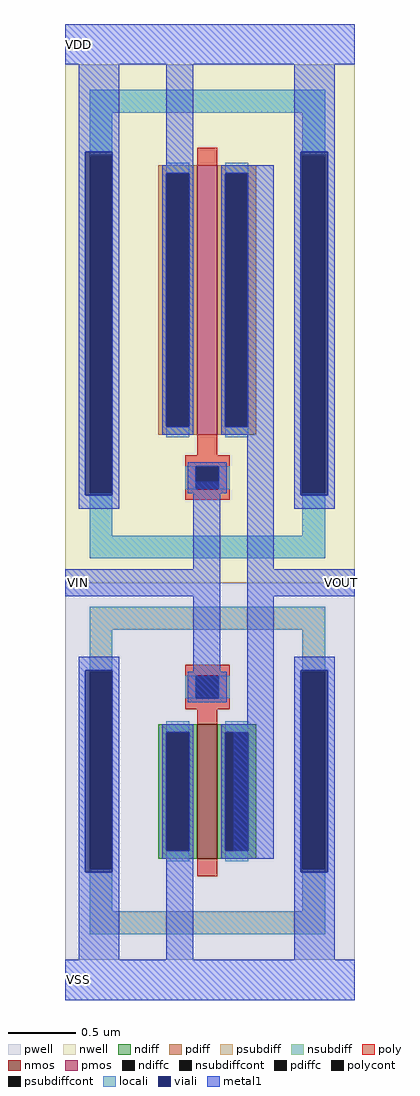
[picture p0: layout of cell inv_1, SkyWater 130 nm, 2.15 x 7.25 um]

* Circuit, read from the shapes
.subckt inv_1 VDD VIN VOUT VSS
XM1 VOUT VIN VSS VSS sky130_fd_pr__nfet_01v8 w=1 l=0.15
XM2 VOUT VIN VDD VDD sky130_fd_pr__pfet_01v8 w=2 l=0.15
.ends

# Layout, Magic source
magic
tech sky130A
magscale 1 2
<< nwell >>
rect -60 -50 370 720
<< pwell >>
rect -60 -610 370 -50
<< viali >>
rect -30 80 10 590
rect 290 80 330 590
rect -30 -480 10 -180
rect 290 -480 330 -180
<< metal1 >>
rect -60 720 370 780
rect -40 590 20 720
rect -40 80 -30 590
rect 10 80 20 590
rect 90 560 130 720
rect 280 590 340 720
rect -40 60 20 80
rect 130 -30 170 100
rect -60 -70 170 -30
rect -40 -180 20 -160
rect -40 -480 -30 -180
rect 10 -480 20 -180
rect 130 -220 170 -70
rect 210 -30 250 570
rect 280 80 290 590
rect 330 80 340 590
rect 280 60 340 80
rect 210 -70 370 -30
rect 210 -260 250 -70
rect -40 -610 20 -480
rect 90 -610 130 -450
rect 190 -460 250 -260
rect 280 -180 340 -160
rect 280 -480 290 -180
rect 330 -480 340 -180
rect 280 -610 340 -480
rect -60 -670 370 -610
use sky130_fd_pr__nfet_01v8_J2RCKQ  sky130_fd_pr__nfet_01v8_J2RCKQ_0
transform 1 0 151 0 1 -329
box -211 -279 211 279
use sky130_fd_pr__pfet_01v8_LDJG94  sky130_fd_pr__pfet_01v8_LDJG94_0
transform 1 0 151 0 1 334
box -211 -384 211 384
<< labels >>
flabel metal1 -60 730 -20 770 0 FreeSans 240 0 0 0 VDD
port 1 nsew
flabel metal1 -60 -70 -20 -30 0 FreeSans 240 0 0 0 VIN
port 2 nsew
flabel metal1 330 -70 370 -30 0 FreeSans 240 0 0 0 VOUT
port 3 nsew
flabel metal1 -60 -660 -20 -620 0 FreeSans 240 0 0 0 VSS
port 4 nsew
<< end >>

# cell sky130_fd_pr__nfet_01v8_J2RCKQ: kit device sky130_fd_pr__nfet_01v8, w 1 l 0.150 m 1 nf 1 diffcov 100 polycov 100 guard 1 glc 1 grc 1 gtc 0 gbc 0 tbcov 100 rlcov 100 topc 1 botc 0 poverlap 0 doverlap 1 lmin 0.15 wmin 0.42 class mosfet compatible {sky130_fd_pr__nfet_01v8 sky130_fd_pr__nfet_01v8_lvt sky130_fd_bs_flash__special_sonosfet_star sky130_fd_pr__nfet_g5v0d10v5 sky130_fd_pr__nfet_05v0_nvt sky130_fd_pr__nfet_03v3_nvt} full_metal 1 conn_gates 0 viasrc 100 viadrn 100 viagate 100 viagb 0 viagr 0 viagl 0 viagt 0 doports 1

# cell sky130_fd_pr__pfet_01v8_LDJG94: kit device sky130_fd_pr__pfet_01v8, w 2 l 0.15 m 1 nf 1 diffcov 100 polycov 100 guard 1 glc 1 grc 1 gtc 0 gbc 0 tbcov 100 rlcov 100 topc 0 botc 1 poverlap 0 doverlap 1 lmin 0.15 wmin 0.42 class mosfet compatible {sky130_fd_pr__pfet_01v8 sky130_fd_pr__pfet_01v8_lvt sky130_fd_pr__pfet_01v8_hvt sky130_fd_pr__pfet_g5v0d10v5} full_metal 1 conn_gates 0 viasrc 100 viadrn 100 viagate 100 viagb 0 viagr 0 viagl 0 viagt 0 doports 1
